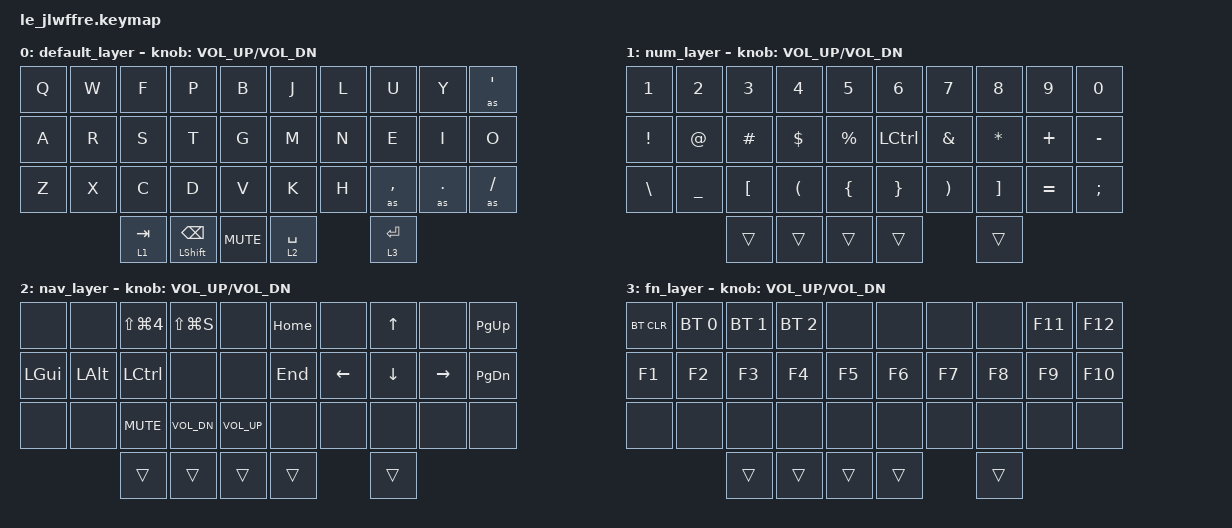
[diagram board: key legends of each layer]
/*
 * Copyright (c) 2022 The ZMK Contributors
 *
 * SPDX-License-Identifier: MIT
 */

#include <behaviors.dtsi>
#include <dt-bindings/zmk/bt.h>
#include <dt-bindings/zmk/keys.h>

// Home row mods macro
//#define HRML(k1,k2,k3) &ht LGUI  k1 &ht LALT k2  &ht LCTRL k3
//#define HRMR(k1,k2,k3) &ht RCTRL k1 &ht LALT k2  &ht RGUI  k3

/ {
    behaviors {
        ht: hold_tap {
            compatible = "zmk,behavior-hold-tap";
            #binding-cells = <2>;
            flavor = "balanced";
            tapping-term-ms = <200>;
            quick-tap-ms = <220>;
            require-prior-idle-ms = <125>;
            bindings = <&kp>, <&kp>;
        };

        mt: mod_tap {
            #binding-cells = <2>;
            tapping-term-ms = <200>;
            quick-tap-ms = <220>;
            require-prior-idle-ms = <125>;
            bindings = <&kp>, <&kp>;
        };

        as_ht: autoshift_hold_tap {
            compatible = "zmk,behavior-hold-tap";
            #binding-cells = <2>;
            tapping-term-ms = <200>;
            bindings = <&shifted>, <&kp>;

            flavor = "tap-preferred";
        };

        combos {
            compatible = "zmk,combos";

            combo_esc {
                timeout-ms = <50>;
                key-positions = <0 1>;
                bindings = <&kp ESC>;
            };

            combo_del {
                timeout-ms = <50>;
                key-positions = <8 9>;
                bindings = <&kp DEL>;
            };

            combo_reset {
                timeout-ms = <50>;
                key-positions = <0 9>;
                layers = <3>;
                bindings = <&sys_reset>;
            };

            combo_boot {
                timeout-ms = <50>;
                key-positions = <5 20>;
                layers = <3>;
                bindings = <&bootloader>;
            };

            Periodpluscolon {
                bindings = <&as SEMI>;
                key-positions = <27 28>;
            };

            tab {
                bindings = <&kp TAB>;
                key-positions = <10 11>;
            };

            screenshot {
                bindings = <&kp LG(LS(S))>;
                key-positions = <27 28 29>;
            };
        };
    };

    macros {
        shifted: macro_shifted_kp {
            #binding-cells = <1>;
            compatible = "zmk,behavior-macro-one-param";
            bindings =
                <&macro_press>,
                <&kp LSHFT &macro_param_1to1>,
                <&macro_tap>,
                <&kp MACRO_PLACEHOLDER>,
                <&macro_release>,
                <&kp LSHFT>;
        };

        as: autoshift {
            compatible = "zmk,behavior-macro-one-param";
            #binding-cells = <1>;
            bindings =
                <&macro_press>,
                <&macro_param_1to1 &macro_param_1to2 &as_ht MACRO_PLACEHOLDER MACRO_PLACEHOLDER>,
                <&macro_pause_for_release>,
                <&macro_release>,
                <&macro_param_1to1 &macro_param_1to2 &as_ht MACRO_PLACEHOLDER MACRO_PLACEHOLDER>;
        };
    };

    keymap {
        compatible = "zmk,keymap";

        default_layer {
            bindings = <
&kp Q  &kp W  &kp F      &kp P            &kp B         &kp J        &kp L  &kp U      &kp Y    &as SQT
&kp A  &kp R  &kp S      &kp T            &kp G         &kp M        &kp N  &kp E      &kp I    &kp O
&kp Z  &kp X  &kp C      &kp D            &kp V         &kp K        &kp H  &as COMMA  &as DOT  &as FSLH
              &lt 1 TAB  &mt LSHIFT BSPC  &kp C_MUTE    &lt 2 SPACE         &lt 3 RET
            >;

            sensor-bindings = <&inc_dec_kp C_VOL_UP C_VOL_DN>;
        };

        num_layer {
            bindings = <
&kp NUMBER_1   &kp NUMBER_2    &kp NUMBER_3      &kp NUMBER_4          &kp N5            &kp NUMBER_6     &kp N7                 &kp N8             &kp N9     &kp N0
&kp EXCL       &kp AT_SIGN     &kp HASH          &kp DOLLAR            &kp PERCENT       &kp LCTRL        &kp AMPERSAND          &kp ASTERISK       &kp PLUS   &kp MINUS
&kp BACKSLASH  &kp UNDERSCORE  &kp LEFT_BRACKET  &kp LEFT_PARENTHESIS  &kp LEFT_BRACE    &kp RIGHT_BRACE  &kp RIGHT_PARENTHESIS  &kp RIGHT_BRACKET  &kp EQUAL  &kp SEMI
                               &trans            &trans                &trans            &trans                                  &trans
            >;

            sensor-bindings = <&inc_dec_kp C_VOL_UP C_VOL_DN>;
        };

        nav_layer {
            bindings = <
&none     &none     &kp LS(LG(N4))  &kp LS(LG(S))  &none           &kp HOME  &none     &kp UP    &none      &kp PG_UP
&kp LGUI  &kp LALT  &kp LCTRL       &none          &none           &kp END   &kp LEFT  &kp DOWN  &kp RIGHT  &kp PG_DN
&none     &none     &kp C_MUTE      &kp C_VOL_DN   &kp C_VOL_UP    &none     &none     &none     &none      &none
                    &trans          &trans         &trans          &trans              &trans
            >;

            sensor-bindings = <&inc_dec_kp C_VOL_UP C_VOL_DN>;
        };

        fn_layer {
            bindings = <
&bt BT_CLR  &bt BT_SEL 0  &bt BT_SEL 1  &bt BT_SEL 2  &none     &none   &none   &none   &kp F11  &kp F12
&kp F1      &kp F2        &kp F3        &kp F4        &kp F5    &kp F6  &kp F7  &kp F8  &kp F9   &kp F10
&none       &none         &none         &none         &none     &none   &none   &none   &none    &none
                          &trans        &trans        &trans    &trans          &trans
            >;

            sensor-bindings = <&inc_dec_kp C_VOL_UP C_VOL_DN>;
        };
    };

    conditional_layers {
        compatible = "zmk,conditional-layers";

        Tri-State {
            if-layers = <1 2>;
            then-layer = <3>;
        };
    };
};
